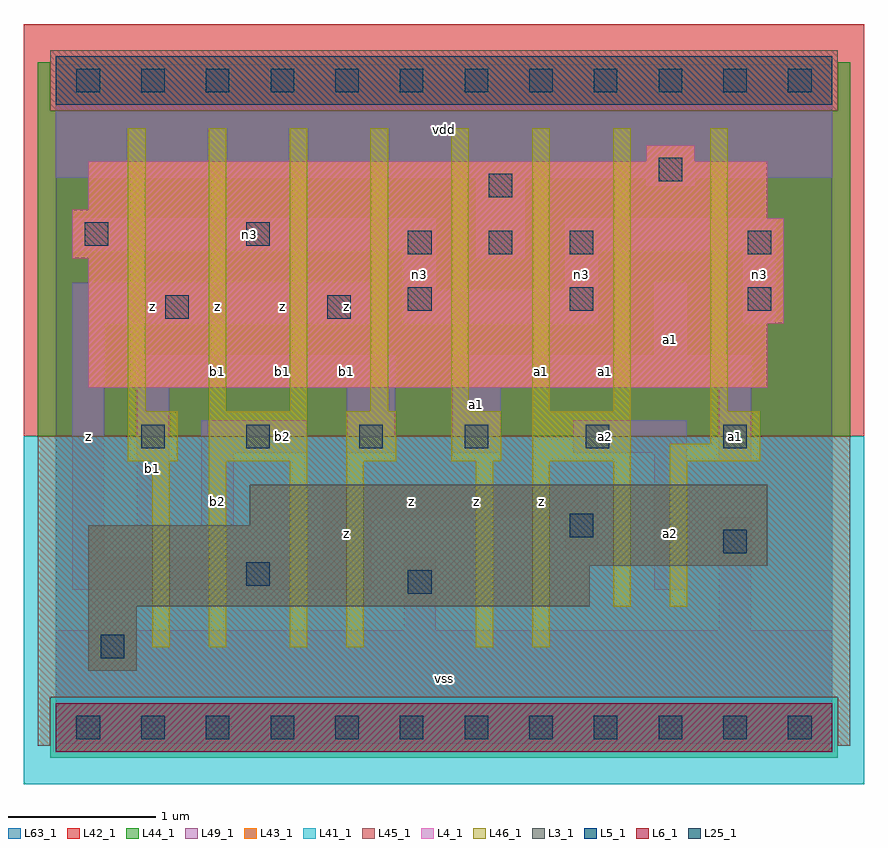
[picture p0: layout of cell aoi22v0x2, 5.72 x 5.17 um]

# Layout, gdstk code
import gdstk
lib = gdstk.Library(unit=1e-6, precision=1e-09)
def R(c, l, rs):  # rectangles x0, y0, x1, y1
    for r in rs: c.add(gdstk.rectangle(r[:2], r[2:], *l))
def A(c, l, x, y, w, h, nx, ny, dx, dy):  # array of equal rectangles
    R(c, l, [(x+i*dx, y+j*dy, x+i*dx+w, y+j*dy+h) for i in range(nx) for j in range(ny)])
L3_1 = (3, 1)
L4_1 = (4, 1)
L5_1 = (5, 1)
L6_1 = (6, 1)
L25_1 = (25, 1)
L41_1 = (41, 1)
L42_1 = (42, 1)
L43_1 = (43, 1)
L44_1 = (44, 1)
L45_1 = (45, 1)
L46_1 = (46, 1)
L49_1 = (49, 1)
L63_1 = (63, 1)

aoi22v0x2 = lib.new_cell('aoi22v0x2')
R(aoi22v0x2, L3_1, [(0.22,0.385,0.55,0.825), (0.22,0.825,3.63,1.1), (0.22,1.1,4.84,1.375), (1.32,1.375,4.84,1.65)])
R(aoi22v0x2, L4_1, [(0.22,2.31,4.84,2.75), (0.22,2.75,4.95,3.19), (0.11,3.19,4.95,3.465), (0.11,3.465,4.84,3.52), (0.22,3.52,4.84,3.85), (4.015,3.85,4.345,3.96)])
R(aoi22v0x2, L5_1, [(0,4.235,5.28,4.565)])
R(aoi22v0x2, L6_1, [(0,-0.165,5.28,0.165)])
A(aoi22v0x2, L25_1, 0.14, -0.08, 0.16, 0.16, 12, 2, 0.44, 4.4)
A(aoi22v0x2, L25_1, 2.395, 3.22, 0.16, 0.16, 3, 1, 0.55, 0)
R(aoi22v0x2, L25_1, [(0.305,0.47,0.465,0.63), (2.395,0.91,2.555,1.07), (1.295,0.965,1.455,1.125), (4.54,1.185,4.7,1.345), (3.495,1.295,3.655,1.455), (0.58,1.9,0.74,2.06), (1.295,1.9,1.455,2.06), (2.065,1.9,2.225,2.06), (2.78,1.9,2.94,2.06), (3.605,1.9,3.765,2.06), (4.54,1.9,4.7,2.06), (0.745,2.78,0.905,2.94), (1.845,2.78,2.005,2.94), (2.395,2.835,2.555,2.995), (3.495,2.835,3.655,2.995), (4.705,2.835,4.865,2.995), (4.705,3.22,4.865,3.38), (0.195,3.275,0.355,3.435), (1.295,3.275,1.455,3.435), (2.945,3.605,3.105,3.765), (4.1,3.715,4.26,3.875)])
R(aoi22v0x2, L41_1, [(-0.22,-0.385,5.5,1.98)])
R(aoi22v0x2, L42_1, [(-0.22,1.98,5.5,4.785)])
R(aoi22v0x2, L43_1, [(0,-0.165,5.28,0.165), (0.22,0.385,0.55,0.825), (0.22,0.825,3.63,1.1), (0.22,1.1,4.84,1.375), (1.32,1.375,4.84,1.65), (0.22,2.31,4.84,2.75), (0.22,2.75,4.95,3.19), (0.11,3.19,4.95,3.465), (0.11,3.465,4.84,3.52), (0.22,3.52,4.84,3.85), (4.015,3.85,4.345,3.96), (0,4.235,5.28,4.565)])
R(aoi22v0x2, L44_1, [(-0.04,-0.205,5.32,0.205), (-0.125,1.98,5.405,4.195), (-0.125,4.195,-0.04,4.525), (5.32,4.195,5.405,4.525)])
R(aoi22v0x2, L45_1, [(-0.125,-0.125,-0.04,0.205), (5.32,-0.125,5.405,0.205), (-0.125,0.205,5.405,1.98), (-0.04,4.195,5.32,4.605)])
A(aoi22v0x2, L46_1, 0.49, 2.15, 0.12, 1.925, 7, 1, 0.55, 0)
R(aoi22v0x2, L46_1, [(0.655,0.545,0.775,1.81), (1.04,0.545,1.16,1.81), (1.59,0.545,1.71,1.81), (1.975,0.545,2.095,1.81), (2.855,0.545,2.975,1.81), (3.24,0.545,3.36,1.81), (3.79,0.82,3.91,1.81), (4.175,0.82,4.295,1.81), (0.49,1.81,0.83,2.15), (1.04,1.81,1.71,2.15), (1.975,1.81,2.315,2.15), (2.69,1.81,3.03,2.15), (3.24,1.81,3.91,2.15), (4.175,1.81,4.79,1.93), (4.45,1.93,4.79,2.15), (4.45,2.15,4.57,4.075)])
R(aoi22v0x2, L49_1, [(0,-0.11,5.28,0.66), (2.365,0.66,2.585,1.155), (4.51,0.66,4.73,1.43), (0.11,0.935,2.145,1.155), (4.07,0.935,4.29,1.87), (0.11,1.155,0.33,2.75), (1.815,1.155,2.145,1.43), (3.465,1.21,3.685,1.43), (0.55,1.375,0.77,2.31), (0.99,1.375,1.21,1.87), (1.815,1.43,3.685,1.65), (4.51,1.815,4.73,2.31), (0.99,1.87,1.705,2.09), (1.98,1.87,2.31,2.31), (2.695,1.87,3.025,2.31), (3.52,1.87,4.29,2.09), (0.55,2.31,2.31,2.53), (2.695,2.31,4.73,2.53), (4.07,2.53,4.29,3.025), (0.11,2.75,2.145,3.025), (2.365,2.75,3.685,2.97), (4.675,2.75,4.895,3.245), (2.365,2.97,2.585,3.245), (3.465,2.97,3.685,3.245), (2.86,3.19,3.19,3.74), (0.11,3.245,2.585,3.465), (3.465,3.245,4.895,3.465), (4.015,3.685,4.345,3.74), (0,3.74,5.28,4.51)])
R(aoi22v0x2, L63_1, [(0,0,5.28,4.4)])
aoi22v0x2.add(gdstk.Label('b1', (0.66,1.76), layer=49, texttype=1))
aoi22v0x2.add(gdstk.Label('z', (0.22,1.98), layer=49, texttype=1))
aoi22v0x2.add(gdstk.Label('z', (0.66,2.86), layer=49, texttype=1))
aoi22v0x2.add(gdstk.Label('b2', (1.1,1.54), layer=49, texttype=1))
aoi22v0x2.add(gdstk.Label('b1', (1.1,2.42), layer=49, texttype=1))
aoi22v0x2.add(gdstk.Label('b2', (1.54,1.98), layer=49, texttype=1))
aoi22v0x2.add(gdstk.Label('b1', (1.54,2.42), layer=49, texttype=1))
aoi22v0x2.add(gdstk.Label('z', (1.54,2.86), layer=49, texttype=1))
aoi22v0x2.add(gdstk.Label('z', (1.1,2.86), layer=49, texttype=1))
aoi22v0x2.add(gdstk.Label('vss', (2.64,0.33), layer=49, texttype=1))
aoi22v0x2.add(gdstk.Label('z', (1.98,1.32), layer=49, texttype=1))
aoi22v0x2.add(gdstk.Label('z', (2.42,1.54), layer=49, texttype=1))
aoi22v0x2.add(gdstk.Label('z', (2.86,1.54), layer=49, texttype=1))
aoi22v0x2.add(gdstk.Label('b1', (1.98,2.42), layer=49, texttype=1))
aoi22v0x2.add(gdstk.Label('a1', (2.86,2.2), layer=49, texttype=1))
aoi22v0x2.add(gdstk.Label('n3', (2.475,3.08), layer=49, texttype=1))
aoi22v0x2.add(gdstk.Label('z', (1.98,2.86), layer=49, texttype=1))
aoi22v0x2.add(gdstk.Label('n3', (1.32,3.355), layer=49, texttype=1))
aoi22v0x2.add(gdstk.Label('vdd', (2.64,4.07), layer=49, texttype=1))
aoi22v0x2.add(gdstk.Label('z', (3.3,1.54), layer=49, texttype=1))
aoi22v0x2.add(gdstk.Label('a2', (4.18,1.32), layer=49, texttype=1))
aoi22v0x2.add(gdstk.Label('a1', (3.3,2.42), layer=49, texttype=1))
aoi22v0x2.add(gdstk.Label('a2', (3.74,1.98), layer=49, texttype=1))
aoi22v0x2.add(gdstk.Label('a1', (3.74,2.42), layer=49, texttype=1))
aoi22v0x2.add(gdstk.Label('a1', (4.18,2.64), layer=49, texttype=1))
aoi22v0x2.add(gdstk.Label('n3', (3.575,3.08), layer=49, texttype=1))
aoi22v0x2.add(gdstk.Label('a1', (4.62,1.98), layer=49, texttype=1))
aoi22v0x2.add(gdstk.Label('n3', (4.785,3.08), layer=49, texttype=1))

lib.write_gds('aoi22v0x2.gds')
